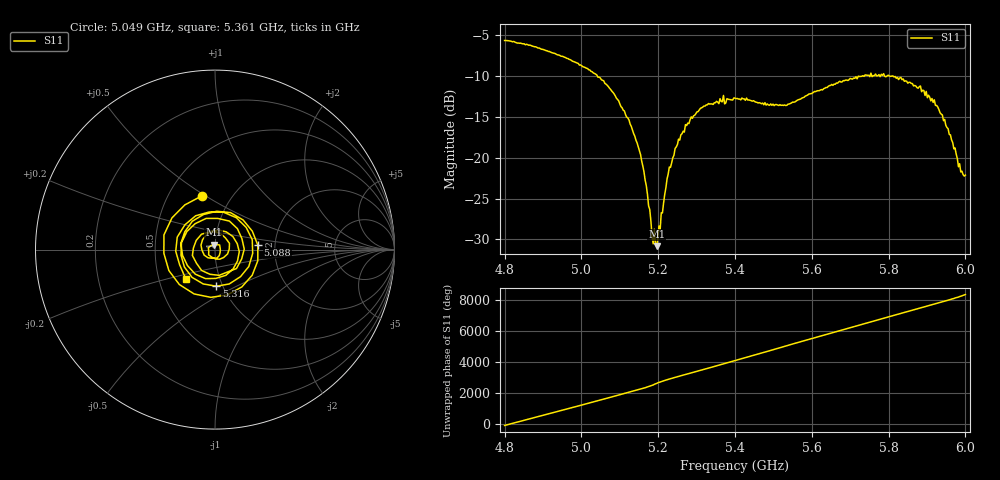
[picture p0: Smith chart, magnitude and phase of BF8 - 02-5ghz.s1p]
! NanoVNA-App
! Date: 2026-05-22 16:36:03
! Start: 4.8GHz Stop: 6GHz Points: 401
! S-Parameter data: F S11
# Hz S RI R 50
!  Frequency  S11_Real  S11_Imag
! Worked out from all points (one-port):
!   401 points, 4.8 GHz to 6 GHz, reference 50 ohm
!   lowest |S11| = -30.8 dB at 5.196 GHz (marker M1), VSWR 1.06, Z = 49.3 + j2.76 ohm
!   |S11| at or under -10 dB: 5.042 GHz to 5.731 GHz (689.5 MHz wide, 12.8 % of centre); 5.789779 GHz to 5.79545 GHz (5.672 MHz wide, 0.0979 % of centre); 5.811 GHz to end of sweep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
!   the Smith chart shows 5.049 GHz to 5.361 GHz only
!   S11 on the Smith chart (normalised r, x): 5.049 GHz: 0.73, +0.48; 5.088 GHz: 1.62, +0.09; 5.316 GHz: 0.93, -0.40; 5.361 GHz: 0.69, -0.24
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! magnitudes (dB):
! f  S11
! 4.8 GHz  -5.6
! 4.95 GHz  -7.6
! 5.049 GHz  -10.2
! 5.088 GHz  -12.4
! 5.1 GHz  -13.4
! 5.127 GHz  -15.9
! 5.148 GHz  -18.6
! 5.166 GHz  -22.7
! 5.181 GHz  -27.8
! 5.187 GHz  -30.5
! 5.19 GHz  -28.7
! 5.196 GHz  -30.8
! 5.199 GHz  -29.9
! 5.226 GHz  -22.0
! 5.25 GHz  -18.4
! 5.277 GHz  -15.8
! 5.316 GHz  -13.8
! 5.361 GHz  -12.8
! 5.4 GHz  -12.7
! 5.55 GHz  -13.2
! 5.7 GHz  -10.3
! 5.781 GHz  -9.8
! 5.85 GHz  -10.9
! 5.886 GHz  -11.9
! 5.925 GHz  -13.6
! 5.961 GHz  -17.2
! 5.988 GHz  -21.7
! 6 GHz  -22.1
